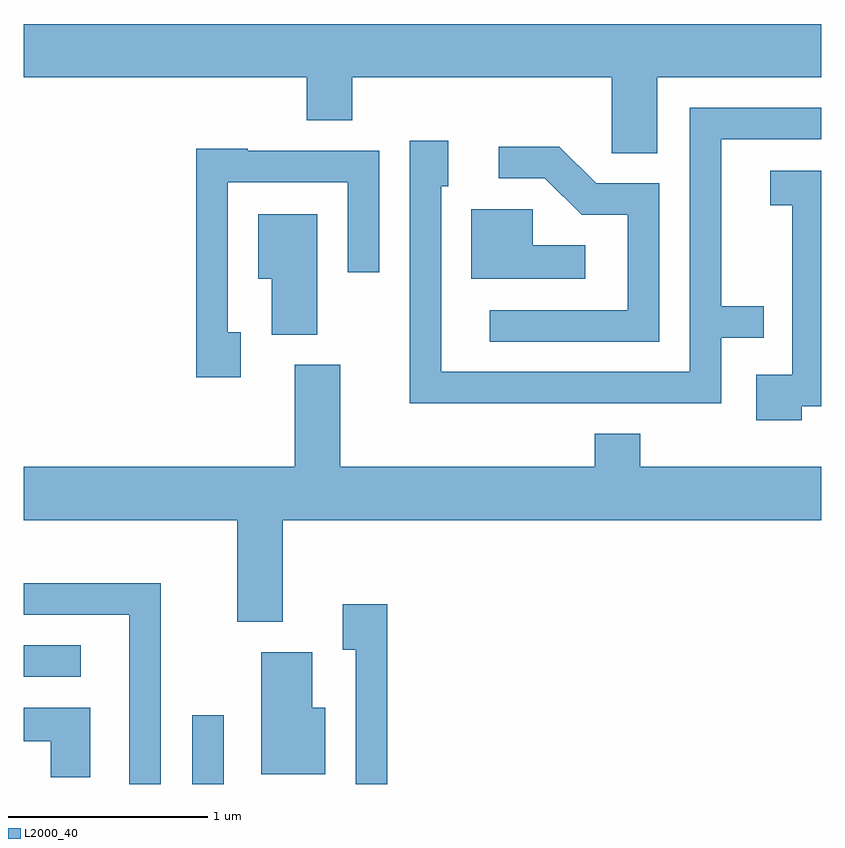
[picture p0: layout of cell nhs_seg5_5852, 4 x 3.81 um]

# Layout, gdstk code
import gdstk
lib = gdstk.Library(unit=1e-6, precision=1e-09)
def R(c, l, rs):  # rectangles x0, y0, x1, y1
    for r in rs: c.add(gdstk.rectangle(r[:2], r[2:], *l))
def P(c, l, *ps):  # polygons
    for p in ps: c.add(gdstk.Polygon(p, *l))
L2000_40 = (2000, 40)

nhs_seg5_5852 = lib.new_cell('nhs_seg5_5852')
R(nhs_seg5_5852, L2000_40, [(358.456,1522.072,358.614,1522.418), (357.611,1522.611,357.898,1522.769)])
P(nhs_seg5_5852, L2000_40, [(360.789,1525.616),(361.611,1525.616),(361.611,1525.884),(357.611,1525.884),(357.611,1525.616),(359.031,1525.616),(359.031,1525.401),(359.259,1525.401),(359.259,1525.616),(360.561,1525.616),(360.561,1525.236),(360.789,1525.236)],
  [(361.109,1524.311),(361.323,1524.311),(361.323,1524.469),(361.109,1524.469),(361.109,1525.306),(361.611,1525.306),(361.611,1525.464),(360.951,1525.464),(360.951,1524.139),(359.704,1524.139),(359.704,1525.071),(359.739,1525.071),(359.739,1525.299),(359.546,1525.299),(359.546,1523.981),(361.109,1523.981)],
  [(360.799,1525.084),(360.482,1525.084),(360.297,1525.269),(359.993,1525.269),(359.993,1525.111),(360.224,1525.111),(360.409,1524.926),(360.641,1524.926),(360.641,1524.449),(359.948,1524.449),(359.948,1524.291),(360.799,1524.291)],
  [(358.699,1524.339),(358.634,1524.339),(358.634,1525.091),(359.236,1525.091),(359.236,1524.638),(359.394,1524.638),(359.394,1525.249),(358.735,1525.249),(358.735,1525.259),(358.476,1525.259),(358.476,1524.111),(358.699,1524.111)],
  [(361.514,1523.966),(361.611,1523.966),(361.611,1525.149),(361.356,1525.149),(361.356,1524.976),(361.466,1524.976),(361.466,1524.124),(361.286,1524.124),(361.286,1523.896),(361.514,1523.896)],
  [(360.428,1524.774),(360.164,1524.774),(360.164,1524.954),(359.856,1524.954),(359.856,1524.606),(360.428,1524.606)],
  [(359.084,1524.929),(358.786,1524.929),(358.786,1524.606),(358.856,1524.606),(358.856,1524.326),(359.084,1524.326)],
  [(358.909,1523.396),(361.611,1523.396),(361.611,1523.664),(360.704,1523.664),(360.704,1523.829),(360.476,1523.829),(360.476,1523.664),(359.199,1523.664),(359.199,1524.174),(358.971,1524.174),(358.971,1523.664),(357.611,1523.664),(357.611,1523.396),(358.681,1523.396),(358.681,1522.886),(358.909,1522.886)],
  [(358.299,1523.079),(357.611,1523.079),(357.611,1522.921),(358.141,1522.921),(358.141,1522.072),(358.299,1522.072)],
  [(359.434,1522.974),(359.211,1522.974),(359.211,1522.746),(359.276,1522.746),(359.276,1522.072),(359.434,1522.072)],
  [(359.124,1522.454),(359.059,1522.454),(359.059,1522.734),(358.801,1522.734),(358.801,1522.121),(359.124,1522.121)],
  [(357.944,1522.454),(357.611,1522.454),(357.611,1522.286),(357.746,1522.286),(357.746,1522.106),(357.944,1522.106)])

lib.write_gds('nhs_seg5_5852.gds')
